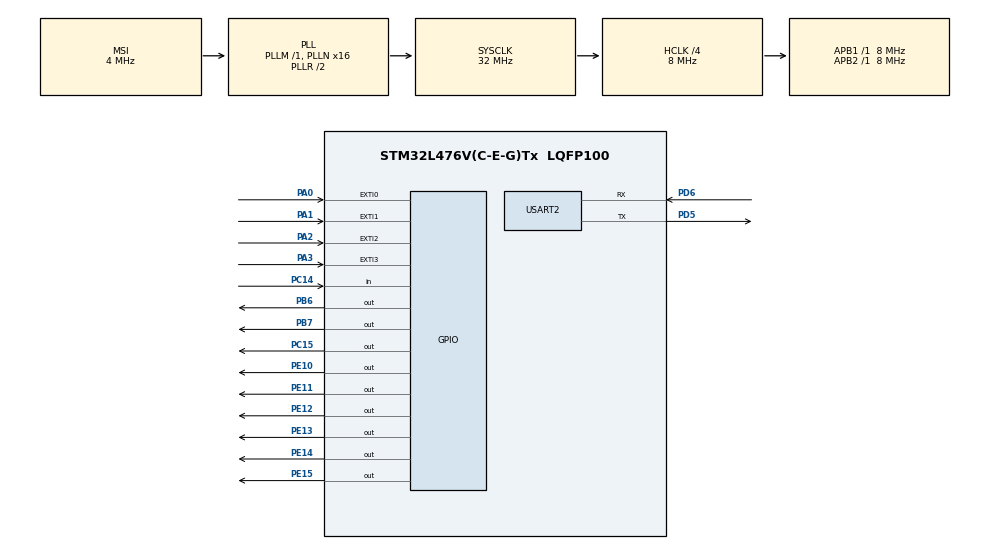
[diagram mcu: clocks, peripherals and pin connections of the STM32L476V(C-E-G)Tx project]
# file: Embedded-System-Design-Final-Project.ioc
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Mcu.Family=STM32L4
Mcu.Name=STM32L476V(C-E-G)Tx
Mcu.Package=LQFP100
NVIC.EXTI0_IRQn=true\:0\:0\:false\:false\:true\:true\:true\:true
NVIC.EXTI1_IRQn=true\:0\:0\:false\:false\:true\:true\:true\:true
NVIC.EXTI2_IRQn=true\:0\:0\:false\:false\:true\:true\:true\:true
NVIC.EXTI3_IRQn=true\:0\:0\:false\:false\:true\:true\:true\:true
NVIC.PriorityGroup=NVIC_PRIORITYGROUP_4
PA0.Signal=GPXTI0
PA1.Signal=GPXTI1
PA13\ (JTMS-SWDIO).Mode=Serial_Wire
PA13\ (JTMS-SWDIO).Signal=SYS_JTMS-SWDIO
PA14\ (JTCK-SWCLK).Mode=Serial_Wire
PA14\ (JTCK-SWCLK).Signal=SYS_JTCK-SWCLK
PA2.Signal=GPXTI2
PA3.Signal=GPXTI3
PB6.Signal=GPIO_Output
PB7.Signal=GPIO_Output
PC14-OSC32_IN\ (PC14).Signal=GPIO_Input
PC15-OSC32_OUT\ (PC15).Signal=GPIO_Output
PD5.Mode=Asynchronous
PD5.Signal=USART2_TX
PD6.Mode=Asynchronous
PD6.Signal=USART2_RX
PE10.Signal=GPIO_Output
PE11.Signal=GPIO_Output
PE12.Signal=GPIO_Output
PE13.Signal=GPIO_Output
PE14.Signal=GPIO_Output
PE15.Signal=GPIO_Output
PH0-OSC_IN\ (PH0).Mode=HSE-External-Oscillator
PH0-OSC_IN\ (PH0).Signal=RCC_OSC_IN
PH1-OSC_OUT\ (PH1).Mode=HSE-External-Oscillator
PH1-OSC_OUT\ (PH1).Signal=RCC_OSC_OUT
ProjectManager.HeapSize=0x200
ProjectManager.StackSize=0x400
ProjectManager.TargetToolchain=STM32CubeIDE
RCC.AHBCLKDivider=RCC_SYSCLK_DIV4
RCC.AHBFreq_Value=8000000
RCC.APB1Freq_Value=8000000
RCC.APB1TimFreq_Value=8000000
RCC.APB2Freq_Value=8000000
RCC.APB2TimFreq_Value=8000000
RCC.CortexFreq_Value=8000000
RCC.HCLKFreq_Value=8000000
RCC.HSE_VALUE=8000000
RCC.HSI_VALUE=16000000
RCC.LSE_VALUE=32768
RCC.MSI_VALUE=4000000
RCC.PLLN=16
RCC.SYSCLKFreq_VALUE=32000000
RCC.SYSCLKSource=RCC_SYSCLKSOURCE_PLLCLK
RCC.VCOOutputFreq_Value=64000000
TIM2.Prescaler=71
USART2.VirtualMode-Asynchronous=VM_ASYNC
VP_TIM2_VS_ClockSourceINT.Mode=Internal
board=custom

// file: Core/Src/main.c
/* USER CODE BEGIN Header */
/**
  ******************************************************************************
  * @file           : main.c
  * @brief          : Main program body
  ******************************************************************************
  * @attention
  *
  * Copyright (c) 2023 STMicroelectronics.
  * All rights reserved.
  *
  * This software is licensed under terms that can be found in the LICENSE file
  * in the root directory of this software component.
  * If no LICENSE file comes with this software, it is provided AS-IS.
  *
  ******************************************************************************
  */
/* USER CODE END Header */
#include "main.h"
#include <stdio.h>

TIM_HandleTypeDef htim2;

UART_HandleTypeDef huart2;

/* USER CODE BEGIN PV */
GPIO_InitTypeDef GPIO_InitStructPrivate = {0};
uint32_t previousMillis = 0;
uint32_t currentMillis = 0;
uint8_t keyPressed = 0;
unsigned int enteredPass;
unsigned int passw;
const int password[4] = {49,50,51,52};//1234

int passr = 1;
int firstTime = 0;

#define TRIG_PIN GPIO_PIN_15
#define TRIG_PORT GPIOC
#define ECHO_PIN GPIO_PIN_14
#define ECHO_PORT GPIOC
uint32_t pMillis;
uint32_t Value1 = 0;
uint32_t Value2 = 0;
uint16_t Distance  = 0;  // cm
/* USER CODE END PV */

void SystemClock_Config(void);
static void MX_GPIO_Init(void);
static void MX_USART2_UART_Init(void);
static void MX_TIM2_Init(void);
/* USER CODE BEGIN PFP */
#define PUTCHAR_PROTOTYPE int __io_putchar(int ch)
/* USER CODE END PFP */

/* USER CODE BEGIN 0 */

#define IN1_PIN GPIO_PIN_6
#define IN1_PORT GPIOB
#define IN2_PIN GPIO_PIN_7
#define IN2_PORT GPIOB
#define IN3_PIN GPIO_PIN_10
#define IN3_PORT GPIOE
#define IN4_PIN GPIO_PIN_11
#define IN4_PORT GPIOE

void microDelay (uint16_t delay)
{
  __HAL_TIM_SET_COUNTER(&htim2, 0);
  while (__HAL_TIM_GET_COUNTER(&htim2) < delay);
}

void stepCCV (int steps, uint16_t delay) // CCV - Counter Clockwise
{
  for(int x=0; x<steps; x=x+1)
  {
    HAL_GPIO_WritePin(IN1_PORT, IN1_PIN, GPIO_PIN_SET);   // IN1
    HAL_GPIO_WritePin(IN2_PORT, IN2_PIN, GPIO_PIN_RESET); // IN2
    HAL_GPIO_WritePin(IN3_PORT, IN3_PIN, GPIO_PIN_RESET); // IN3
    HAL_GPIO_WritePin(IN4_PORT, IN4_PIN, GPIO_PIN_RESET); // IN4
    microDelay(delay);
    HAL_GPIO_WritePin(IN1_PORT, IN1_PIN, GPIO_PIN_SET);   // IN1
    HAL_GPIO_WritePin(IN2_PORT, IN2_PIN, GPIO_PIN_SET);   // IN2
    HAL_GPIO_WritePin(IN3_PORT, IN3_PIN, GPIO_PIN_RESET); // IN3
    HAL_GPIO_WritePin(IN4_PORT, IN4_PIN, GPIO_PIN_RESET); // IN4
    microDelay(delay);
    HAL_GPIO_WritePin(IN1_PORT, IN1_PIN, GPIO_PIN_RESET); // IN1
    HAL_GPIO_WritePin(IN2_PORT, IN2_PIN, GPIO_PIN_SET);   // IN2
    HAL_GPIO_WritePin(IN3_PORT, IN3_PIN, GPIO_PIN_RESET); // IN3
    HAL_GPIO_WritePin(IN4_PORT, IN4_PIN, GPIO_PIN_RESET); // IN4
    microDelay(delay);
    HAL_GPIO_WritePin(IN1_PORT, IN1_PIN, GPIO_PIN_RESET); // IN1
    HAL_GPIO_WritePin(IN2_PORT, IN2_PIN, GPIO_PIN_SET);   // IN2
    HAL_GPIO_WritePin(IN3_PORT, IN3_PIN, GPIO_PIN_SET);   // IN3
    HAL_GPIO_WritePin(IN4_PORT, IN4_PIN, GPIO_PIN_RESET); // IN4
    microDelay(delay);
    HAL_GPIO_WritePin(IN1_PORT, IN1_PIN, GPIO_PIN_RESET); // IN1
    HAL_GPIO_WritePin(IN2_PORT, IN2_PIN, GPIO_PIN_RESET); // IN2
    HAL_GPIO_WritePin(IN3_PORT, IN3_PIN, GPIO_PIN_SET);   // IN3
    HAL_GPIO_WritePin(IN4_PORT, IN4_PIN, GPIO_PIN_RESET); // IN4
    microDelay(delay);
    HAL_GPIO_WritePin(IN1_PORT, IN1_PIN, GPIO_PIN_RESET); // IN1
    HAL_GPIO_WritePin(IN2_PORT, IN2_PIN, GPIO_PIN_RESET); // IN2
    HAL_GPIO_WritePin(IN3_PORT, IN3_PIN, GPIO_PIN_SET);   // IN3
    HAL_GPIO_WritePin(IN4_PORT, IN4_PIN, GPIO_PIN_SET);   // IN4
    microDelay(delay);
    HAL_GPIO_WritePin(IN1_PORT, IN1_PIN, GPIO_PIN_RESET); // IN1
    HAL_GPIO_WritePin(IN2_PORT, IN2_PIN, GPIO_PIN_RESET); // IN2
    HAL_GPIO_WritePin(IN3_PORT, IN3_PIN, GPIO_PIN_RESET); // IN3
    HAL_GPIO_WritePin(IN4_PORT, IN4_PIN, GPIO_PIN_SET);   // IN4
    microDelay(delay);
    HAL_GPIO_WritePin(IN1_PORT, IN1_PIN, GPIO_PIN_SET);   // IN1
    HAL_GPIO_WritePin(IN2_PORT, IN2_PIN, GPIO_PIN_RESET); // IN2
    HAL_GPIO_WritePin(IN3_PORT, IN3_PIN, GPIO_PIN_RESET); // IN3
    HAL_GPIO_WritePin(IN4_PORT, IN4_PIN, GPIO_PIN_SET);   // IN4
    microDelay(delay);
  }
}

void stepCV (int steps, uint16_t delay) // CV - Clockwise
{
  for(int x=0; x<steps; x=x+1)
  {
    HAL_GPIO_WritePin(IN1_PORT, IN1_PIN, GPIO_PIN_SET);   // IN1
    HAL_GPIO_WritePin(IN2_PORT, IN2_PIN, GPIO_PIN_RESET); // IN2
    HAL_GPIO_WritePin(IN3_PORT, IN3_PIN, GPIO_PIN_RESET); // IN3
    HAL_GPIO_WritePin(IN4_PORT, IN4_PIN, GPIO_PIN_SET);   // IN4
    microDelay(delay);
    HAL_GPIO_WritePin(IN1_PORT, IN1_PIN, GPIO_PIN_RESET); // IN1
    HAL_GPIO_WritePin(IN2_PORT, IN2_PIN, GPIO_PIN_RESET); // IN2
    HAL_GPIO_WritePin(IN3_PORT, IN3_PIN, GPIO_PIN_RESET); // IN3
    HAL_GPIO_WritePin(IN4_PORT, IN4_PIN, GPIO_PIN_SET);   // IN4
    microDelay(delay);
    HAL_GPIO_WritePin(IN1_PORT, IN1_PIN, GPIO_PIN_RESET); // IN1
    HAL_GPIO_WritePin(IN2_PORT, IN2_PIN, GPIO_PIN_RESET); // IN2
    HAL_GPIO_WritePin(IN3_PORT, IN3_PIN, GPIO_PIN_SET);   // IN3
    HAL_GPIO_WritePin(IN4_PORT, IN4_PIN, GPIO_PIN_SET);   // IN4
    microDelay(delay);
    HAL_GPIO_WritePin(IN1_PORT, IN1_PIN, GPIO_PIN_RESET); // IN1
    HAL_GPIO_WritePin(IN2_PORT, IN2_PIN, GPIO_PIN_RESET); // IN2
    HAL_GPIO_WritePin(IN3_PORT, IN3_PIN, GPIO_PIN_SET);   // IN3
    HAL_GPIO_WritePin(IN4_PORT, IN4_PIN, GPIO_PIN_RESET); // IN4
    microDelay(delay);
    HAL_GPIO_WritePin(IN1_PORT, IN1_PIN, GPIO_PIN_RESET); // IN1
    HAL_GPIO_WritePin(IN2_PORT, IN2_PIN, GPIO_PIN_SET);   // IN2
    HAL_GPIO_WritePin(IN3_PORT, IN3_PIN, GPIO_PIN_SET);   // IN3
    HAL_GPIO_WritePin(IN4_PORT, IN4_PIN, GPIO_PIN_RESET); // IN4
    microDelay(delay);
    HAL_GPIO_WritePin(IN1_PORT, IN1_PIN, GPIO_PIN_RESET); // IN1
    HAL_GPIO_WritePin(IN2_PORT, IN2_PIN, GPIO_PIN_SET);   // IN2
    HAL_GPIO_WritePin(IN3_PORT, IN3_PIN, GPIO_PIN_RESET); // IN3
    HAL_GPIO_WritePin(IN4_PORT, IN4_PIN, GPIO_PIN_RESET); // IN4
    microDelay(delay);
    HAL_GPIO_WritePin(IN1_PORT, IN1_PIN, GPIO_PIN_SET);   // IN1
    HAL_GPIO_WritePin(IN2_PORT, IN2_PIN, GPIO_PIN_SET);   // IN2
    HAL_GPIO_WritePin(IN3_PORT, IN3_PIN, GPIO_PIN_RESET); // IN3
    HAL_GPIO_WritePin(IN4_PORT, IN4_PIN, GPIO_PIN_RESET); // IN4
    microDelay(delay);
    HAL_GPIO_WritePin(IN1_PORT, IN1_PIN, GPIO_PIN_SET);   // IN1
    HAL_GPIO_WritePin(IN2_PORT, IN2_PIN, GPIO_PIN_RESET); // IN2
    HAL_GPIO_WritePin(IN3_PORT, IN3_PIN, GPIO_PIN_RESET); // IN3
    HAL_GPIO_WritePin(IN4_PORT, IN4_PIN, GPIO_PIN_RESET); // IN4
    microDelay(delay);
  }
}
/* USER CODE END 0 */

int main(void)
{

  /* MCU Configuration--------------------------------------------------------*/

  /* Reset of all peripherals, Initializes the Flash interface and the Systick. */
  HAL_Init();

  /* Configure the system clock */
  SystemClock_Config();

  /* Initialize all configured peripherals */
  MX_GPIO_Init();
  MX_USART2_UART_Init();
  MX_TIM2_Init();
  /* USER CODE BEGIN 2 */
  HAL_GPIO_WritePin(GPIOE, GPIO_PIN_15, 1);
  HAL_GPIO_WritePin(GPIOE, GPIO_PIN_14, 1);
  HAL_GPIO_WritePin(GPIOE, GPIO_PIN_13, 1);
  HAL_GPIO_WritePin(GPIOE, GPIO_PIN_12, 1);
  HAL_TIM_Base_Start(&htim2);
     HAL_GPIO_WritePin(TRIG_PORT, TRIG_PIN, GPIO_PIN_RESET);  // pull the TRIG pin low

  /* USER CODE END 2 */

  /* Infinite loop */
  /* USER CODE BEGIN WHILE */

int a = 0 ;
  while (1)
  {
	  keyPressed=0;
	  if(a == 0 ){
    printf("Input key");
    int keyA = 0;
          while(keyPressed == 0){
            HAL_Delay(50);
          }
          keyA = keyPressed;
          if(keyA == 65){
            keyA = 0;
            keyPressed = 0;
            printf("\nPass true: ");
            for(int i = 0;i<4;i++){
            	keyPressed=0;
                printf("\nInput the password: ");
                while(keyPressed == 0){
                  HAL_Delay(50);
                      }
                passw = keyPressed;
              if(password[i] == passw){
                continue;
              }
              else{
                passr = 0;
              }
              keyPressed=0;
            }
            if(passr==1){
              printf("\nPass true: ");

              HAL_GPIO_WritePin(TRIG_PORT, TRIG_PIN, GPIO_PIN_SET);  // pull the TRIG pin HIGH
                __HAL_TIM_SET_COUNTER(&htim2, 0);
              while (__HAL_TIM_GET_COUNTER(&htim2) < 10);  // wait for 10 us
              HAL_GPIO_WritePin(TRIG_PORT, TRIG_PIN, GPIO_PIN_RESET);  // pull the TRIG pin low
              pMillis = HAL_GetTick(); // used this to avoid infinite while loop  (for timeout)
              // wait for the echo pin to go high
              while (!(HAL_GPIO_ReadPin(ECHO_PORT, ECHO_PIN)) && pMillis + 10 >  HAL_GetTick());
              Value1 = __HAL_TIM_GET_COUNTER(&htim2);
              pMillis = HAL_GetTick(); // used this to avoid infinite while loop (for timeout)
              // wait for the echo pin to go low
              while ((HAL_GPIO_ReadPin(ECHO_PORT, ECHO_PIN)) && pMillis + 50 > HAL_GetTick());
              Value2 = __HAL_TIM_GET_COUNTER(&htim2);
              for(int k = 0; k<7;k++){
            	  if(k==0){
            		  Distance = 50;
            		   HAL_Delay(50);
            		  if(Distance >10){
            		     stepCV(50, 1000);
            		      HAL_Delay(50);
            		  }
            	  }
            	  if(k==1){
            	       Distance = 65;
            	       HAL_Delay(50);
            	       if(Distance >10){
            	                          	  stepCV(50, 1000);
            	                          	  HAL_Delay(50);
            	                   	  }
            	  }
            	  if(k==2){
            	         Distance = 90;
            	         HAL_Delay(50);
            	         if(Distance >10){
            	                            	  stepCV(50, 1000);
            	                            	  HAL_Delay(50);
            	                     	  }
            	  }
            	  if(k==3){
            	             	         Distance = 43;
            	             	         HAL_Delay(50);
            	             	         if(Distance >10){
            	             	                            	  stepCV(50, 1000);
            	             	                            	  HAL_Delay(50);
            	             	                     	  }
            	             	  }
            	  if(k==4){
            	             	         Distance = 25;
            	             	         HAL_Delay(50);
            	             	         if(Distance >10){
            	             	                            	  stepCV(50, 1000);
            	             	                            	  HAL_Delay(50);
            	             	                     	  }
            	             	  }
            	  if(k==5){
            	             	             	         Distance = 6;
            	             	             	       printf("\n Distance is closer than 10cm!!! ");
            	             	             	         HAL_Delay(3000);
            	             	             	         if(Distance >10){
            	             	             	                            	  stepCV(50, 1000);
            	             	             	                            	  HAL_Delay(3000);
            	             	             	                     	  }
            	             	             	  }
            	  if(k==6){
            	             	             	             	         Distance = 225;
            	             	             	             	         HAL_Delay(50);
            	             	             	             	         if(Distance >10){
            	             	             	             	                            	  stepCV(150, 1000);
            	             	             	             	                            	  HAL_Delay(50);
            	             	             	             	                     	  }
            	             	             	             	  }
              	  }

              //stepCV(360, 1500);
              }

            else{
            	printf("\nPass false: ");
            }
          }
	  }

    /* USER CODE END WHILE */

  }
}

void SystemClock_Config(void)
{
  RCC_OscInitTypeDef RCC_OscInitStruct = {0};
  RCC_ClkInitTypeDef RCC_ClkInitStruct = {0};

  /** Configure the main internal regulator output voltage
  */
  if (HAL_PWREx_ControlVoltageScaling(PWR_REGULATOR_VOLTAGE_SCALE1) != HAL_OK)
  {
    Error_Handler();
  }

  /** Initializes the RCC Oscillators according to the specified parameters
  * in the RCC_OscInitTypeDef structure.
  */
  RCC_OscInitStruct.OscillatorType = RCC_OSCILLATORTYPE_MSI;
  RCC_OscInitStruct.MSIState = RCC_MSI_ON;
  RCC_OscInitStruct.MSICalibrationValue = 0;
  RCC_OscInitStruct.MSIClockRange = RCC_MSIRANGE_6;
  RCC_OscInitStruct.PLL.PLLState = RCC_PLL_ON;
  RCC_OscInitStruct.PLL.PLLSource = RCC_PLLSOURCE_MSI;
  RCC_OscInitStruct.PLL.PLLM = 1;
  RCC_OscInitStruct.PLL.PLLN = 16;
  RCC_OscInitStruct.PLL.PLLP = RCC_PLLP_DIV7;
  RCC_OscInitStruct.PLL.PLLQ = RCC_PLLQ_DIV2;
  RCC_OscInitStruct.PLL.PLLR = RCC_PLLR_DIV2;
  if (HAL_RCC_OscConfig(&RCC_OscInitStruct) != HAL_OK)
  {
    Error_Handler();
  }

  /** Initializes the CPU, AHB and APB buses clocks
  */
  RCC_ClkInitStruct.ClockType = RCC_CLOCKTYPE_HCLK|RCC_CLOCKTYPE_SYSCLK
                              |RCC_CLOCKTYPE_PCLK1|RCC_CLOCKTYPE_PCLK2;
  RCC_ClkInitStruct.SYSCLKSource = RCC_SYSCLKSOURCE_PLLCLK;
  RCC_ClkInitStruct.AHBCLKDivider = RCC_SYSCLK_DIV4;
  RCC_ClkInitStruct.APB1CLKDivider = RCC_HCLK_DIV1;
  RCC_ClkInitStruct.APB2CLKDivider = RCC_HCLK_DIV1;

  if (HAL_RCC_ClockConfig(&RCC_ClkInitStruct, FLASH_LATENCY_0) != HAL_OK)
  {
    Error_Handler();
  }
}

static void MX_TIM2_Init(void)
{

  TIM_ClockConfigTypeDef sClockSourceConfig = {0};
  TIM_MasterConfigTypeDef sMasterConfig = {0};

  htim2.Instance = TIM2;
  htim2.Init.Prescaler = 71;
  htim2.Init.CounterMode = TIM_COUNTERMODE_UP;
  htim2.Init.Period = 4294967295;
  htim2.Init.ClockDivision = TIM_CLOCKDIVISION_DIV1;
  htim2.Init.AutoReloadPreload = TIM_AUTORELOAD_PRELOAD_DISABLE;
  if (HAL_TIM_Base_Init(&htim2) != HAL_OK)
  {
    Error_Handler();
  }
  sClockSourceConfig.ClockSource = TIM_CLOCKSOURCE_INTERNAL;
  if (HAL_TIM_ConfigClockSource(&htim2, &sClockSourceConfig) != HAL_OK)
  {
    Error_Handler();
  }
  sMasterConfig.MasterOutputTrigger = TIM_TRGO_RESET;
  sMasterConfig.MasterSlaveMode = TIM_MASTERSLAVEMODE_DISABLE;
  if (HAL_TIMEx_MasterConfigSynchronization(&htim2, &sMasterConfig) != HAL_OK)
  {
    Error_Handler();
  }

}

static void MX_USART2_UART_Init(void)
{

  huart2.Instance = USART2;
  huart2.Init.BaudRate = 115200;
  huart2.Init.WordLength = UART_WORDLENGTH_8B;
  huart2.Init.StopBits = UART_STOPBITS_1;
  huart2.Init.Parity = UART_PARITY_NONE;
  huart2.Init.Mode = UART_MODE_TX_RX;
  huart2.Init.HwFlowCtl = UART_HWCONTROL_NONE;
  huart2.Init.OverSampling = UART_OVERSAMPLING_16;
  huart2.Init.OneBitSampling = UART_ONE_BIT_SAMPLE_DISABLE;
  huart2.AdvancedInit.AdvFeatureInit = UART_ADVFEATURE_NO_INIT;
  if (HAL_UART_Init(&huart2) != HAL_OK)
  {
    Error_Handler();
  }

}

static void MX_GPIO_Init(void)
{
  GPIO_InitTypeDef GPIO_InitStruct = {0};

  /* GPIO Ports Clock Enable */
  __HAL_RCC_GPIOC_CLK_ENABLE();
  __HAL_RCC_GPIOH_CLK_ENABLE();
  __HAL_RCC_GPIOA_CLK_ENABLE();
  __HAL_RCC_GPIOE_CLK_ENABLE();
  __HAL_RCC_GPIOD_CLK_ENABLE();
  __HAL_RCC_GPIOB_CLK_ENABLE();

  /*Configure GPIO pin Output Level */
  HAL_GPIO_WritePin(GPIOC, GPIO_PIN_15, GPIO_PIN_RESET);

  /*Configure GPIO pin Output Level */
  HAL_GPIO_WritePin(GPIOE, GPIO_PIN_10|GPIO_PIN_11|GPIO_PIN_12|GPIO_PIN_13
                          |GPIO_PIN_14|GPIO_PIN_15, GPIO_PIN_RESET);

  /*Configure GPIO pin Output Level */
  HAL_GPIO_WritePin(GPIOB, GPIO_PIN_6|GPIO_PIN_7, GPIO_PIN_RESET);

  /*Configure GPIO pin : PC14 */
  GPIO_InitStruct.Pin = GPIO_PIN_14;
  GPIO_InitStruct.Mode = GPIO_MODE_INPUT;
  GPIO_InitStruct.Pull = GPIO_NOPULL;
  HAL_GPIO_Init(GPIOC, &GPIO_InitStruct);

  /*Configure GPIO pin : PC15 */
  GPIO_InitStruct.Pin = GPIO_PIN_15;
  GPIO_InitStruct.Mode = GPIO_MODE_OUTPUT_PP;
  GPIO_InitStruct.Pull = GPIO_NOPULL;
  GPIO_InitStruct.Speed = GPIO_SPEED_FREQ_LOW;
  HAL_GPIO_Init(GPIOC, &GPIO_InitStruct);

  /*Configure GPIO pins : PA0 PA1 PA2 PA3 */
  GPIO_InitStruct.Pin = GPIO_PIN_0|GPIO_PIN_1|GPIO_PIN_2|GPIO_PIN_3;
  GPIO_InitStruct.Mode = GPIO_MODE_IT_RISING;
  GPIO_InitStruct.Pull = GPIO_NOPULL;
  HAL_GPIO_Init(GPIOA, &GPIO_InitStruct);

  /*Configure GPIO pins : PE10 PE11 PE12 PE13
                           PE14 PE15 */
  GPIO_InitStruct.Pin = GPIO_PIN_10|GPIO_PIN_11|GPIO_PIN_12|GPIO_PIN_13
                          |GPIO_PIN_14|GPIO_PIN_15;
  GPIO_InitStruct.Mode = GPIO_MODE_OUTPUT_PP;
  GPIO_InitStruct.Pull = GPIO_NOPULL;
  GPIO_InitStruct.Speed = GPIO_SPEED_FREQ_LOW;
  HAL_GPIO_Init(GPIOE, &GPIO_InitStruct);

  /*Configure GPIO pins : PB6 PB7 */
  GPIO_InitStruct.Pin = GPIO_PIN_6|GPIO_PIN_7;
  GPIO_InitStruct.Mode = GPIO_MODE_OUTPUT_PP;
  GPIO_InitStruct.Pull = GPIO_NOPULL;
  GPIO_InitStruct.Speed = GPIO_SPEED_FREQ_LOW;
  HAL_GPIO_Init(GPIOB, &GPIO_InitStruct);

  /* EXTI interrupt init*/
  HAL_NVIC_SetPriority(EXTI0_IRQn, 0, 0);
  HAL_NVIC_EnableIRQ(EXTI0_IRQn);

  HAL_NVIC_SetPriority(EXTI1_IRQn, 0, 0);
  HAL_NVIC_EnableIRQ(EXTI1_IRQn);

  HAL_NVIC_SetPriority(EXTI2_IRQn, 0, 0);
  HAL_NVIC_EnableIRQ(EXTI2_IRQn);

  HAL_NVIC_SetPriority(EXTI3_IRQn, 0, 0);
  HAL_NVIC_EnableIRQ(EXTI3_IRQn);

}

/* USER CODE BEGIN 4 */

PUTCHAR_PROTOTYPE
{
  /* Place your implementation of fputc here */
  /* e.g. write a character to the USART1 and Loop until the end of transmission */
  HAL_UART_Transmit(&huart2, (uint8_t *)&ch, 1, 0xFFFF);

  return ch;
}

void HAL_GPIO_EXTI_Callback(uint16_t GPIO_Pin)
{
  currentMillis = HAL_GetTick();
  if (currentMillis - previousMillis > 10) {
    /*Configure GPIO pins : PA0 PA1 PA2 PA3 to GPIO_INPUT*/
    GPIO_InitStructPrivate.Pin = GPIO_PIN_0|GPIO_PIN_1|GPIO_PIN_2|GPIO_PIN_3;
    GPIO_InitStructPrivate.Mode = GPIO_MODE_INPUT;
    GPIO_InitStructPrivate.Pull = GPIO_NOPULL;
    GPIO_InitStructPrivate.Speed = GPIO_SPEED_FREQ_LOW;
    HAL_GPIO_Init(GPIOA, &GPIO_InitStructPrivate);

    HAL_GPIO_WritePin(GPIOE, GPIO_PIN_15, 1);
    HAL_GPIO_WritePin(GPIOE, GPIO_PIN_14, 0);
    HAL_GPIO_WritePin(GPIOE, GPIO_PIN_13, 0);
    HAL_GPIO_WritePin(GPIOE, GPIO_PIN_12, 0);
    if(GPIO_Pin == GPIO_PIN_0 && HAL_GPIO_ReadPin(GPIOA, GPIO_PIN_0))
    {
      keyPressed = 65; //ASCII value of A
    }
    else if(GPIO_Pin == GPIO_PIN_1 && HAL_GPIO_ReadPin(GPIOA, GPIO_PIN_1))
    {
      keyPressed = 51; //ASCII value of 3
    }
    else if(GPIO_Pin == GPIO_PIN_2 && HAL_GPIO_ReadPin(GPIOA, GPIO_PIN_2))
    {
      keyPressed = 50; //ASCII value of 2
    }
    else if(GPIO_Pin == GPIO_PIN_3 && HAL_GPIO_ReadPin(GPIOA, GPIO_PIN_3))
    {
      keyPressed = 49; //ASCII value of 1
    }

    HAL_GPIO_WritePin(GPIOE, GPIO_PIN_15, 0);
    HAL_GPIO_WritePin(GPIOE, GPIO_PIN_14, 1);
    HAL_GPIO_WritePin(GPIOE, GPIO_PIN_13, 0);
    HAL_GPIO_WritePin(GPIOE, GPIO_PIN_12, 0);
    if(GPIO_Pin == GPIO_PIN_0 && HAL_GPIO_ReadPin(GPIOA, GPIO_PIN_0))
    {
      keyPressed = 66; //ASCII value of B
    }
    else if(GPIO_Pin == GPIO_PIN_1 && HAL_GPIO_ReadPin(GPIOA, GPIO_PIN_1))
    {
      keyPressed = 54; //ASCII value of 6
    }
    else if(GPIO_Pin == GPIO_PIN_2 && HAL_GPIO_ReadPin(GPIOA, GPIO_PIN_2))
    {
      keyPressed = 53; //ASCII value of 5
    }
    else if(GPIO_Pin == GPIO_PIN_3 && HAL_GPIO_ReadPin(GPIOA, GPIO_PIN_3))
    {
      keyPressed = 52; //ASCII value of 4
    }

    HAL_GPIO_WritePin(GPIOE, GPIO_PIN_15, 0);
    HAL_GPIO_WritePin(GPIOE, GPIO_PIN_14, 0);
    HAL_GPIO_WritePin(GPIOE, GPIO_PIN_13, 1);
    HAL_GPIO_WritePin(GPIOE, GPIO_PIN_12, 0);
    if(GPIO_Pin == GPIO_PIN_0 && HAL_GPIO_ReadPin(GPIOA, GPIO_PIN_0))
    {
      keyPressed = 67; //ASCII value of C
    }
    else if(GPIO_Pin == GPIO_PIN_1 && HAL_GPIO_ReadPin(GPIOA, GPIO_PIN_1))
    {
      keyPressed = 57; //ASCII value of 9
    }
    else if(GPIO_Pin == GPIO_PIN_2 && HAL_GPIO_ReadPin(GPIOA, GPIO_PIN_2))
    {
      keyPressed = 56; //ASCII value of 8
    }
    else if(GPIO_Pin == GPIO_PIN_3 && HAL_GPIO_ReadPin(GPIOA, GPIO_PIN_3))
    {
      keyPressed = 55; //ASCII value of 7
    }

    HAL_GPIO_WritePin(GPIOE, GPIO_PIN_15, 0);
    HAL_GPIO_WritePin(GPIOE, GPIO_PIN_14, 0);
    HAL_GPIO_WritePin(GPIOE, GPIO_PIN_13, 0);
    HAL_GPIO_WritePin(GPIOE, GPIO_PIN_12, 1);
    if(GPIO_Pin == GPIO_PIN_0 && HAL_GPIO_ReadPin(GPIOA, GPIO_PIN_0))
    {
      keyPressed = 68; //ASCII value of D
    }
    else if(GPIO_Pin == GPIO_PIN_1 && HAL_GPIO_ReadPin(GPIOA, GPIO_PIN_1))
    {
      keyPressed = 35; //ASCII value of #
    }
    else if(GPIO_Pin == GPIO_PIN_2 && HAL_GPIO_ReadPin(GPIOA, GPIO_PIN_2))
    {
      keyPressed = 48; //ASCII value of 0
    }
    else if(GPIO_Pin == GPIO_PIN_3 && HAL_GPIO_ReadPin(GPIOA, GPIO_PIN_3))
    {
      keyPressed = 42; //ASCII value of *
    }

    HAL_GPIO_WritePin(GPIOE, GPIO_PIN_15, 1);
    HAL_GPIO_WritePin(GPIOE, GPIO_PIN_14, 1);
    HAL_GPIO_WritePin(GPIOE, GPIO_PIN_13, 1);
    HAL_GPIO_WritePin(GPIOE, GPIO_PIN_12, 1);
    /*Configure GPIO pins : PB6 PB7 PB8 PB9 back to EXTI*/
    GPIO_InitStructPrivate.Mode = GPIO_MODE_IT_RISING;
    GPIO_InitStructPrivate.Pull = GPIO_PULLDOWN;
    HAL_GPIO_Init(GPIOA, &GPIO_InitStructPrivate);
    previousMillis = currentMillis;
  }
}

/* USER CODE END 4 */

void Error_Handler(void)
{
  __disable_irq();
  while (1)
  {
  }
}
